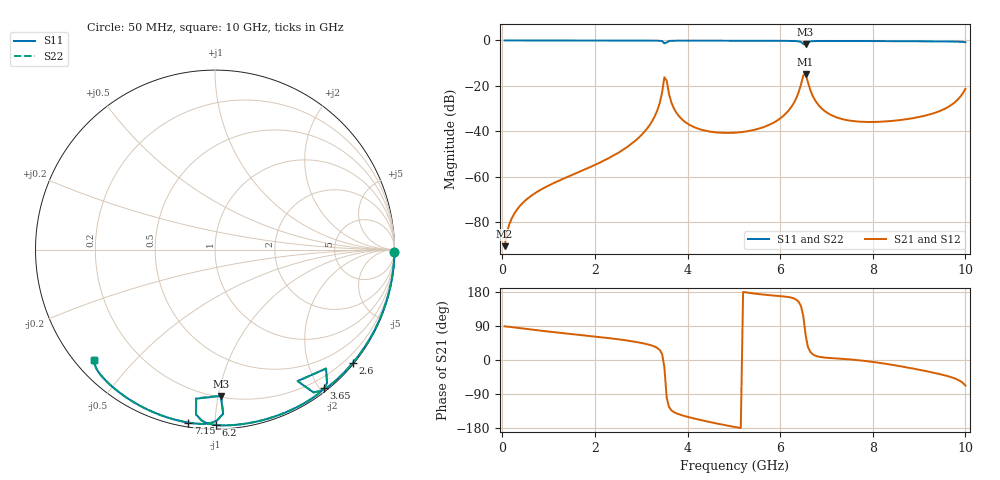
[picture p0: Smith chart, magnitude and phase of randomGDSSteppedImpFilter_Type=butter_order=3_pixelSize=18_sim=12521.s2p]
! freq	dB(S11)	phase(S11)	dB(S12)	phase(S12)
!  dB(S21)	phase(S21)	dB(S22)	phase(S22)
!S-par simulation data
#  GHz  S  DB  R 50
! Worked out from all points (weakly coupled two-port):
!   200 points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, 50 MHz to 10 GHz, reference 50 ohm
!   highest |S21| = -14.70 dB at 6.55 GHz (marker M1); lowest = -90.5 dB at 50 MHz (marker M2)
!   lowest |S11| = -1.8 dB at 6.55 GHz (marker M3), VSWR 9.88, Z = 10.4 - j50.9 ohm
!   |S11| at or under -10 dB: nowhere
!   |S22| runs from -1.8 to 0.0 dB; largest |S21 - S12| = 0
!   S11 on the Smith chart (normalised r, x): 50 MHz: open; 2.6 GHz: 0.03, -2.79; 3.65 GHz: 0.05, -2.06; 6.2 GHz: 0.02, -1.01; 7.15 GHz: 0.02, -0.86; 10 GHz: 0.05, -0.39
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0.05  -0.00 -0.8  -90.53 88.9  -90.53 88.9  -0.00 -0.8
0.7  -0.01 -10.8  -67.30 79.3  -67.30 79.3  -0.01 -10.8
1.75  -0.03 -26.7  -57.03 65.2  -57.03 65.2  -0.03 -26.7
2.6  -0.05 -39.5  -48.24 53.1  -48.24 53.1  -0.05 -39.5
3.15  -0.07 -47.9  -38.17 40.9  -38.17 40.9  -0.07 -47.9
3.4  -0.15 -53.2  -27.50 26.4  -27.50 26.4  -0.15 -53.2
3.5  -1.26 -57.9  -16.19 -19.2  -16.19 -19.2  -1.25 -57.8
3.55  -0.85 -47.0  -17.74 -99.5  -17.74 -99.5  -0.85 -47.0
3.65  -0.15 -51.9  -27.20 -132.5  -27.20 -132.5  -0.15 -51.9
3.85  -0.09 -56.0  -34.11 -144.8  -34.11 -144.8  -0.09 -56.1
4.15  -0.09 -60.7  -38.22 -154.6  -38.22 -154.6  -0.09 -60.7
5.05  -0.12 -73.3  -40.55 -177.4  -40.55 -177.4  -0.12 -73.3
5.75  -0.15 -82.9  -37.26 171.3  -37.26 171.3  -0.15 -82.9
6.2  -0.20 -89.7  -30.39 165.6  -30.39 165.6  -0.20 -89.7
6.35  -0.29 -92.9  -25.32 159.1  -25.32 159.1  -0.30 -92.9
6.5  -1.54 -97.2  -15.37 115.7  -15.37 115.7  -1.56 -97.3
6.55  -1.76 -87.7  -14.70 66.0  -14.70 66.0  -1.78 -87.7
6.7  -0.32 -91.0  -24.24 15.3  -24.24 15.3  -0.32 -90.9
7.15  -0.22 -98.8  -33.29 4.6  -33.29 4.6  -0.22 -98.8
8.35  -0.30 -114.1  -35.54 -11.4  -35.54 -11.4  -0.30 -114.0
9.45  -0.42 -127.8  -31.04 -37.3  -31.04 -37.3  -0.42 -127.8
10  -0.77 -137.6  -21.32 -67.6  -21.32 -67.6  -0.77 -137.6
